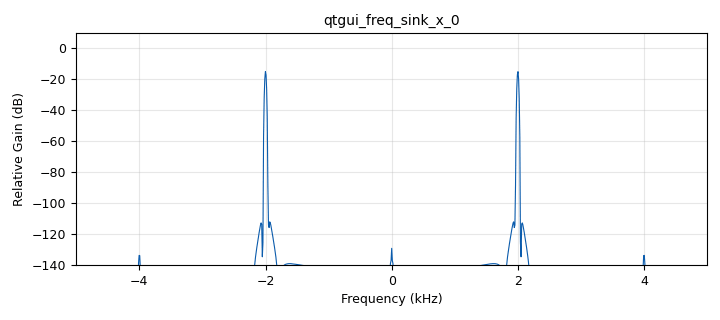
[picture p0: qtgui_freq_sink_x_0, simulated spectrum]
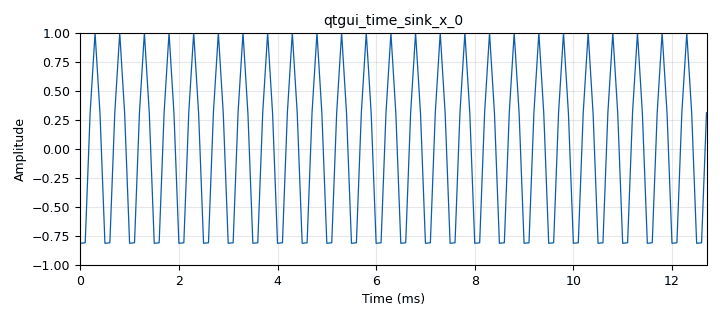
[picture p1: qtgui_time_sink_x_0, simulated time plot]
options:
  parameters:
    generate_options: qt_gui
    id: lab_comu_1
    output_language: python
    title: Primer flujograma
  states: {}

blocks:
- name: amplitude
  id: variable_qtgui_range
  parameters:
    label: amplitud
    start: '0'
    step: '100e-3'
    stop: '5'
    value: '1'
  states: {}
- name: frecuency
  id: variable_qtgui_range
  parameters:
    label: frecuency in Hz
    start: '1000'
    step: '1000'
    stop: 40e3
    value: 2e3
  states: {}
- name: frecuency
  id: variable
  parameters:
    value: '100'
  states: {state: disabled}
- name: offset
  id: variable_qtgui_range
  parameters:
    label: offset
    start: '-5'
    step: '100e-3'
    stop: '5'
    value: '0'
    widget: counter
  states: {}
- name: samp_rate
  id: variable
  parameters:
    value: '32000'
  states: {state: disabled}
- name: samp_rate
  id: variable_qtgui_range
  parameters:
    label: frecuencia de muestreo
    start: '1000'
    step: 1e3
    stop: 200e3
    value: 10e3
  states: {}
- name: waveform
  id: variable_qtgui_chooser
  parameters:
    label: waveform
    labels: '["constant", "sine", "cosine", "square", "triangle", "saw tooth"]'
    num_opts: '0'
    options: '[100, 101, 102, 103, 104, 105]'
    type: raw
    value: '102'
  states: {}
- name: analog_sig_source_x_0
  id: analog_sig_source_x
  parameters:
    amp: amplitude
    freq: frecuency
    offset: offset
    phase: '0'
    samp_rate: samp_rate
    type: float
    waveform: waveform
  states: {}
- name: blocks_throttle2_0
  id: blocks_throttle2
  parameters:
    samples_per_second: samp_rate
    type: float
  states: {}
- name: qtgui_freq_sink_x_0
  id: qtgui_freq_sink_x
  parameters:
    bw: samp_rate
    fc: '0'
    fftsize: '1024'
    type: float
  states: {}
- name: qtgui_time_sink_x_0
  id: qtgui_time_sink_x
  parameters:
    size: '128'
    srate: samp_rate
    type: float
  states: {}

connections:
- [analog_sig_source_x_0, '0', blocks_throttle2_0, '0']
- [blocks_throttle2_0, '0', qtgui_freq_sink_x_0, '0']
- [blocks_throttle2_0, '0', qtgui_time_sink_x_0, '0']

metadata:
  file_format: 1
  grc_version: v3.10.11.0-89-ga17f69e7
